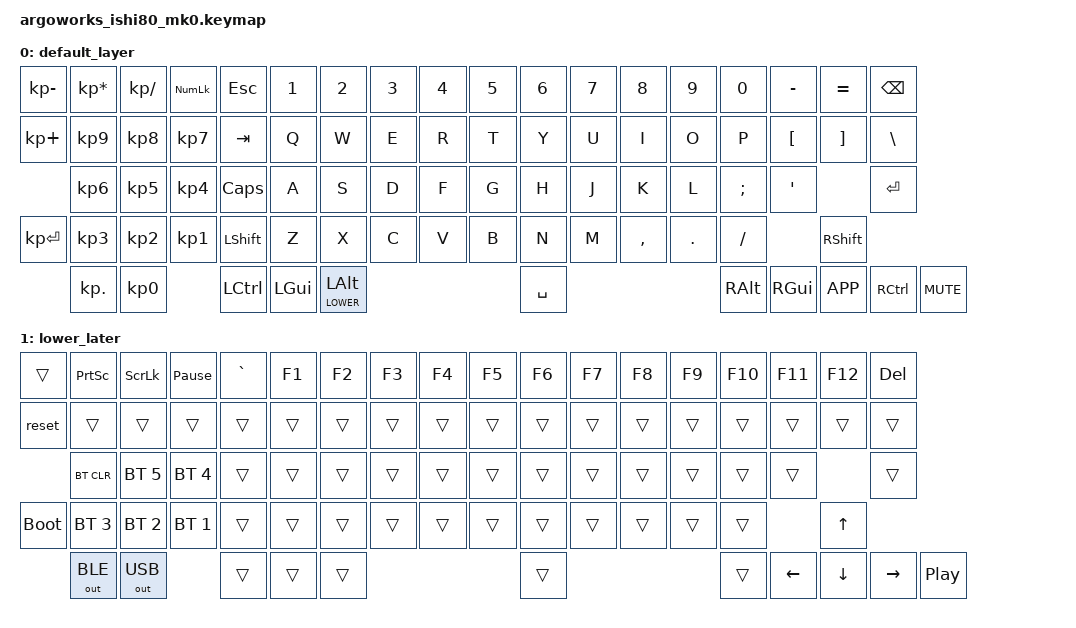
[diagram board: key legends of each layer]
/*
 * Copyright (c) 2022 The ZMK Contributors
 *
 * SPDX-License-Identifier: MIT
 */

#include <behaviors.dtsi>
#include <dt-bindings/zmk/keys.h>
#include <dt-bindings/zmk/bt.h>
#include <dt-bindings/zmk/outputs.h>

#define DEFAULT 0
#define LOWER   1

//Default Keymap
// -------------------------------------------------------------------------------------------------------------------------------------------------------------------------------------------------------------
// |   KP_MIN   |   KP_MUL   |   KP_DIV   |   NUM_LCK   |    |   `~    |   1!   |   2@   |   3#   |   4$   |   5%   |   6^   |   7&   |   8*   |   9(   |   0)   |   -_    |   =+    |   BKSP   |
// |   KP_PLS   |   KP_N9    |   KP_N8    |   KP_N7     |    |   TAB   |   Q    |   W    |   E    |   R    |   T    |   Y    |   U    |   I    |   O    |   P    |   [{    |   ]}    |   \|     |
// |            |   KP_N6    |   KP_N5    |   KP_N4     |    | CPS_LCK |   A    |   S    |   D    |   F    |   G    |   H    |   J    |   K    |   L    |   ;:   |   '"    |       ENTER        |
// |   KP_ENT   |   KP_N3    |   KP_N2    |   KP_N1     |    |  LSHFT  |   Z    |   X    |   C    |   V    |   B    |   N    |   M    |   ,<   |   .>   |   /?   |            RSHFT             |
// |            |   KP_DOT   |          KP_N0           |    |  LCTRL  |  LGUI  |  LALT  |                            SPACE                             |  RALT  |  RGUI   |  MENU   |  RCTRL   |    |  MUTE  |
// -------------------------------------------------------------------------------------------------------------------------------------------------------------------------------------------------------------

/ {
    keymap {
        compatible = "zmk,keymap";
        
        default_layer {
            bindings = <
            &kp KP_MINUS   &kp KP_MULTIPLY   &kp KP_DIVIDE   &kp KP_NLCK        &kp ESC     &kp N1     &kp N2          &kp N3   &kp N4   &kp N5   &kp N6     &kp N7   &kp N8     &kp N9     &kp N0     &kp MINUS   &kp EQUAL   &kp BSPC
            &kp KP_PLUS    &kp KP_N9         &kp KP_N8       &kp KP_N7          &kp TAB     &kp Q      &kp W           &kp E    &kp R    &kp T    &kp Y      &kp U    &kp I      &kp O      &kp P      &kp LBKT    &kp RBKT    &kp BSLH
                           &kp KP_N6         &kp KP_N5       &kp KP_N4          &kp CLCK    &kp A      &kp S           &kp D    &kp F    &kp G    &kp H      &kp J    &kp K      &kp L      &kp SEMI   &kp APOS                &kp RET
            &kp KP_ENTER   &kp KP_N3         &kp KP_N2       &kp KP_N1          &kp LSHFT   &kp Z      &kp X           &kp C    &kp V    &kp B    &kp N      &kp M    &kp COMMA  &kp DOT    &kp FSLH               &kp RSHFT
                           &kp KP_DOT        &kp KP_N0                          &kp LCTRL   &kp LGUI   &lt LOWER LALT                             &kp SPACE                                 &kp RALT   &kp RGUI    &kp K_APP   &kp RCTRL   &kp C_MUTE   
            >;
        };

        lower_later{
            bindings = <
            &trans        &kp PSCRN      &kp SLCK       &kp PAUSE_BREAK       &kp GRAVE   &kp F1   &kp F2   &kp F3   &kp F4   &kp F5   &kp F6   &kp F7   &kp F8   &kp F9   &kp F10   &kp F11     &kp F12     &kp DEL
            &reset        &trans         &trans         &trans                &trans      &trans   &trans   &trans   &trans   &trans   &trans   &trans   &trans   &trans   &trans    &trans      &trans      &trans
                          &bt BT_CLR     &bt BT_SEL 5   &bt BT_SEL 4          &trans      &trans   &trans   &trans   &trans   &trans   &trans   &trans   &trans   &trans   &trans    &trans                  &trans
            &bootloader   &bt BT_SEL 3   &bt BT_SEL 2   &bt BT_SEL 1          &trans      &trans   &trans   &trans   &trans   &trans   &trans   &trans   &trans   &trans   &trans                &kp UP
                          &out OUT_BLE   &out OUT_USB                         &trans      &trans   &trans                              &trans                              &trans    &kp LEFT    &kp DOWN    &kp RIGHT   &kp C_PLAY_PAUSE
            >;
        };
    };
};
